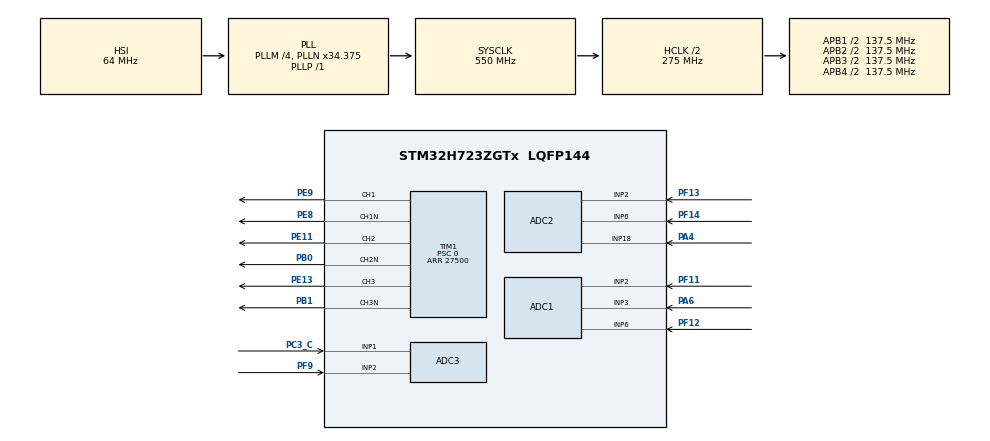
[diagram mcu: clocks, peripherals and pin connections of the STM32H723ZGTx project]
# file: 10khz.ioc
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ADC1.Channel-0\#ChannelRegularConversion=ADC_CHANNEL_2
ADC1.Channel-1\#ChannelRegularConversion=ADC_CHANNEL_3
ADC1.Channel-2\#ChannelRegularConversion=ADC_CHANNEL_6
ADC1.ConversionDataManagement=ADC_CONVERSIONDATA_DMA_CIRCULAR
ADC1.EOCSelection=ADC_EOC_SEQ_CONV
ADC1.ExternalTrigConv=ADC_EXTERNALTRIG_T1_TRGO
ADC1.NbrOfConversion=3
ADC1.NbrOfConversionFlag=1
ADC1.OffsetNumber-0\#ChannelRegularConversion=ADC_OFFSET_NONE
ADC1.OffsetNumber-1\#ChannelRegularConversion=ADC_OFFSET_NONE
ADC1.OffsetNumber-2\#ChannelRegularConversion=ADC_OFFSET_NONE
ADC1.OffsetSignedSaturation-0\#ChannelRegularConversion=DISABLE
ADC1.OffsetSignedSaturation-1\#ChannelRegularConversion=DISABLE
ADC1.OffsetSignedSaturation-2\#ChannelRegularConversion=DISABLE
ADC1.Rank-0\#ChannelRegularConversion=1
ADC1.Rank-1\#ChannelRegularConversion=2
ADC1.Rank-2\#ChannelRegularConversion=3
ADC1.SamplingTime-0\#ChannelRegularConversion=ADC_SAMPLETIME_1CYCLE_5
ADC1.SamplingTime-1\#ChannelRegularConversion=ADC_SAMPLETIME_1CYCLE_5
ADC1.SamplingTime-2\#ChannelRegularConversion=ADC_SAMPLETIME_1CYCLE_5
ADC1.master=1
ADC2.Channel-0\#ChannelRegularConversion=ADC_CHANNEL_2
ADC2.Channel-1\#ChannelRegularConversion=ADC_CHANNEL_6
ADC2.Channel-2\#ChannelRegularConversion=ADC_CHANNEL_18
ADC2.ConversionDataManagement=ADC_CONVERSIONDATA_DMA_CIRCULAR
ADC2.EOCSelection=ADC_EOC_SEQ_CONV
ADC2.ExternalTrigConv=ADC_EXTERNALTRIG_T1_TRGO
ADC2.NbrOfConversion=3
ADC2.NbrOfConversionFlag=1
ADC2.OffsetNumber-0\#ChannelRegularConversion=ADC_OFFSET_NONE
ADC2.OffsetNumber-1\#ChannelRegularConversion=ADC_OFFSET_NONE
ADC2.OffsetNumber-2\#ChannelRegularConversion=ADC_OFFSET_NONE
ADC2.OffsetSignedSaturation-0\#ChannelRegularConversion=DISABLE
ADC2.OffsetSignedSaturation-1\#ChannelRegularConversion=DISABLE
ADC2.OffsetSignedSaturation-2\#ChannelRegularConversion=DISABLE
ADC2.Rank-0\#ChannelRegularConversion=1
ADC2.Rank-1\#ChannelRegularConversion=2
ADC2.Rank-2\#ChannelRegularConversion=3
ADC2.SamplingTime-0\#ChannelRegularConversion=ADC_SAMPLETIME_1CYCLE_5
ADC2.SamplingTime-1\#ChannelRegularConversion=ADC_SAMPLETIME_1CYCLE_5
ADC2.SamplingTime-2\#ChannelRegularConversion=ADC_SAMPLETIME_1CYCLE_5
ADC3.Channel-0\#ChannelRegularConversion=ADC_CHANNEL_1
ADC3.Channel-1\#ChannelRegularConversion=ADC_CHANNEL_2
ADC3.ConversionDataManagement=ADC_CONVERSIONDATA_DMA_CIRCULAR
ADC3.DMAContinuousRequests=ENABLE
ADC3.EOCSelection=ADC_EOC_SEQ_CONV
ADC3.ExternalTrigConv=ADC_EXTERNALTRIG_T1_TRGO
ADC3.NbrOfConversion=2
ADC3.NbrOfConversionFlag=1
ADC3.OffsetNumber-0\#ChannelRegularConversion=ADC_OFFSET_NONE
ADC3.OffsetNumber-1\#ChannelRegularConversion=ADC_OFFSET_NONE
ADC3.OffsetSign-0\#ChannelRegularConversion=ADC3_OFFSET_SIGN_NEGATIVE
ADC3.OffsetSign-1\#ChannelRegularConversion=ADC3_OFFSET_SIGN_NEGATIVE
ADC3.Rank-0\#ChannelRegularConversion=1
ADC3.Rank-1\#ChannelRegularConversion=2
ADC3.SamplingTime-0\#ChannelRegularConversion=ADC3_SAMPLETIME_2CYCLES_5
ADC3.SamplingTime-1\#ChannelRegularConversion=ADC3_SAMPLETIME_2CYCLES_5
CORTEX_M7.CPU_DCache=Disabled
CORTEX_M7.CPU_ICache=Disabled
CORTEX_M7.default_mode_Activation=1
Dma.ADC1.0.Direction=DMA_PERIPH_TO_MEMORY
Dma.ADC1.0.EventEnable=DISABLE
Dma.ADC1.0.FIFOMode=DMA_FIFOMODE_DISABLE
Dma.ADC1.0.Instance=DMA1_Stream0
Dma.ADC1.0.MemDataAlignment=DMA_MDATAALIGN_HALFWORD
Dma.ADC1.0.MemInc=DMA_MINC_ENABLE
Dma.ADC1.0.Mode=DMA_CIRCULAR
Dma.ADC1.0.PeriphDataAlignment=DMA_PDATAALIGN_HALFWORD
Dma.ADC1.0.PeriphInc=DMA_PINC_DISABLE
Dma.ADC1.0.Polarity=HAL_DMAMUX_REQ_GEN_RISING
Dma.ADC1.0.Priority=DMA_PRIORITY_LOW
Dma.ADC1.0.RequestNumber=1
Dma.ADC1.0.SignalID=NONE
Dma.ADC1.0.SyncEnable=DISABLE
Dma.ADC1.0.SyncPolarity=HAL_DMAMUX_SYNC_NO_EVENT
Dma.ADC1.0.SyncRequestNumber=1
Dma.ADC1.0.SyncSignalID=NONE
Dma.ADC2.1.Direction=DMA_PERIPH_TO_MEMORY
Dma.ADC2.1.EventEnable=DISABLE
Dma.ADC2.1.FIFOMode=DMA_FIFOMODE_DISABLE
Dma.ADC2.1.Instance=DMA1_Stream1
Dma.ADC2.1.MemDataAlignment=DMA_MDATAALIGN_HALFWORD
Dma.ADC2.1.MemInc=DMA_MINC_ENABLE
Dma.ADC2.1.Mode=DMA_CIRCULAR
Dma.ADC2.1.PeriphDataAlignment=DMA_PDATAALIGN_HALFWORD
Dma.ADC2.1.PeriphInc=DMA_PINC_DISABLE
Dma.ADC2.1.Polarity=HAL_DMAMUX_REQ_GEN_RISING
Dma.ADC2.1.Priority=DMA_PRIORITY_LOW
Dma.ADC2.1.RequestNumber=1
Dma.ADC2.1.SignalID=NONE
Dma.ADC2.1.SyncEnable=DISABLE
Dma.ADC2.1.SyncPolarity=HAL_DMAMUX_SYNC_NO_EVENT
Dma.ADC2.1.SyncRequestNumber=1
Dma.ADC2.1.SyncSignalID=NONE
Dma.ADC3.2.Direction=DMA_PERIPH_TO_MEMORY
Dma.ADC3.2.EventEnable=DISABLE
Dma.ADC3.2.FIFOMode=DMA_FIFOMODE_DISABLE
Dma.ADC3.2.Instance=DMA1_Stream2
Dma.ADC3.2.MemDataAlignment=DMA_MDATAALIGN_HALFWORD
Dma.ADC3.2.MemInc=DMA_MINC_ENABLE
Dma.ADC3.2.Mode=DMA_CIRCULAR
Dma.ADC3.2.PeriphDataAlignment=DMA_PDATAALIGN_HALFWORD
Dma.ADC3.2.PeriphInc=DMA_PINC_DISABLE
Dma.ADC3.2.Polarity=HAL_DMAMUX_REQ_GEN_RISING
Dma.ADC3.2.Priority=DMA_PRIORITY_LOW
Dma.ADC3.2.RequestNumber=1
Dma.ADC3.2.SignalID=NONE
Dma.ADC3.2.SyncEnable=DISABLE
Dma.ADC3.2.SyncPolarity=HAL_DMAMUX_SYNC_NO_EVENT
Dma.ADC3.2.SyncRequestNumber=1
Dma.ADC3.2.SyncSignalID=NONE
Dma.Request0=ADC1
Dma.Request1=ADC2
Dma.Request2=ADC3
Mcu.Family=STM32H7
Mcu.Name=STM32H723ZGTx
Mcu.Package=LQFP144
NVIC.ADC3_IRQn=true\:0\:0\:false\:false\:true\:true\:true\:true
NVIC.ADC_IRQn=true\:0\:0\:false\:false\:true\:true\:true\:true
NVIC.DMA1_Stream0_IRQn=true\:0\:0\:false\:false\:true\:false\:true\:true
NVIC.DMA1_Stream1_IRQn=true\:0\:0\:false\:false\:true\:false\:true\:true
NVIC.DMA1_Stream2_IRQn=true\:0\:0\:false\:false\:true\:false\:true\:true
NVIC.PriorityGroup=NVIC_PRIORITYGROUP_4
NVIC.TIM1_UP_IRQn=true\:0\:0\:false\:false\:true\:true\:true\:true
NVIC.TIM2_IRQn=true\:0\:0\:false\:false\:true\:true\:true\:true
PA4.Signal=ADCx_INP18
PA6.Signal=ADCx_INP3
PB0.Mode=PWM Generation2 CH2 CH2N
PB0.Signal=TIM1_CH2N
PB1.Mode=PWM Generation3 CH3 CH3N
PB1.Signal=TIM1_CH3N
PC3_C.Mode=IN1-Single-Ended
PC3_C.Signal=ADC3_INP1
PE11.Signal=S_TIM1_CH2
PE13.Signal=S_TIM1_CH3
PE8.Mode=PWM Generation1 CH1 CH1N
PE8.Signal=TIM1_CH1N
PE9.Signal=S_TIM1_CH1
PF11.Mode=IN2-Single-Ended
PF11.Signal=ADC1_INP2
PF12.Mode=IN6-Single-Ended
PF12.Signal=ADC1_INP6
PF13.Mode=IN2-Single-Ended
PF13.Signal=ADC2_INP2
PF14.Mode=IN6-Single-Ended
PF14.Signal=ADC2_INP6
PF9.Mode=IN2-Single-Ended
PF9.Signal=ADC3_INP2
PH0-OSC_IN.Mode=HSE-External-Oscillator
PH0-OSC_IN.Signal=RCC_OSC_IN
PH1-OSC_OUT.Mode=HSE-External-Oscillator
PH1-OSC_OUT.Signal=RCC_OSC_OUT
ProjectManager.HeapSize=0x200
ProjectManager.StackSize=0x400
ProjectManager.TargetToolchain=STM32CubeIDE
RCC.ADCFreq_Value=96000000
RCC.APB1Freq_Value=137500000
RCC.APB2Freq_Value=137500000
RCC.APB3Freq_Value=137500000
RCC.APB4Freq_Value=137500000
RCC.CortexFreq_Value=550000000
RCC.D1PPRE=RCC_APB3_DIV2
RCC.D2PPRE1=RCC_APB1_DIV2
RCC.D2PPRE2=RCC_APB2_DIV2
RCC.D3PPRE=RCC_APB4_DIV2
RCC.DIVM1=4
RCC.DIVM2=4
RCC.DIVN1=34
RCC.DIVN2=12
RCC.DIVP1=1
RCC.DIVQ1=4
RCC.HCLKFreq_Value=275000000
RCC.HPRE=RCC_HCLK_DIV2
RCC.HSE_VALUE=8000000
RCC.PLL2FRACN=0
RCC.PLLFRACN=3072
RCC.SYSCLKFreq_VALUE=550000000
RCC.SYSCLKSource=RCC_SYSCLKSOURCE_PLLCLK
RCC.USBCLockSelection=RCC_USBCLKSOURCE_HSI48
RCC.USBFreq_Value=48000000
SH.ADCx_INP18.0=ADC2_INP18,IN18-Single-Ended
SH.ADCx_INP3.0=ADC1_INP3,IN3-Single-Ended
SH.S_TIM1_CH1.0=TIM1_CH1,PWM Generation1 CH1 CH1N
SH.S_TIM1_CH2.0=TIM1_CH2,PWM Generation2 CH2 CH2N
SH.S_TIM1_CH3.0=TIM1_CH3,PWM Generation3 CH3 CH3N
TIM1.Channel-PWM\ Generation1\ CH1\ CH1N=TIM_CHANNEL_1
TIM1.Channel-PWM\ Generation2\ CH2\ CH2N=TIM_CHANNEL_2
TIM1.Channel-PWM\ Generation3\ CH3\ CH3N=TIM_CHANNEL_3
TIM1.DeadTime=255
TIM1.Period=27500
TIM1.Prescaler=0
TIM1.TIM_MasterOutputTrigger=TIM_TRGO_UPDATE
TIM2.Period=13750
VP_MEMORYMAP_VS_MEMORYMAP.Mode=CurAppReg
VP_TIM1_VS_ClockSourceINT.Mode=Internal
VP_TIM2_VS_ClockSourceINT.Mode=Internal
board=NUCLEO-H723ZG

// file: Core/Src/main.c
/* USER CODE BEGIN Header */
/**
  ******************************************************************************
  * @file           : main.c
  * @brief          : Main program body
  ******************************************************************************
  * @attention
  *
  * Copyright (c) 2025 STMicroelectronics.
  * All rights reserved.
  *
  * This software is licensed under terms that can be found in the LICENSE file
  * in the root directory of this software component.
  * If no LICENSE file comes with this software, it is provided AS-IS.
  *
  ******************************************************************************
  */
/* USER CODE END Header */
#include "main.h"

/* USER CODE BEGIN Includes */
#include "butterworth_filter.h"
#include "TPGCI_STM32_4.h"
/* USER CODE END Includes */

ADC_HandleTypeDef hadc1;
ADC_HandleTypeDef hadc2;
ADC_HandleTypeDef hadc3;
DMA_HandleTypeDef hdma_adc1;
DMA_HandleTypeDef hdma_adc2;
DMA_HandleTypeDef hdma_adc3;

TIM_HandleTypeDef htim1;
TIM_HandleTypeDef htim2;

/* USER CODE BEGIN PV */

//********************************** Main inputs ******************************//
float VDC_i=400;
float CCR_max_i = 1375;
float Id_ref_i = 3;
float Iq_ref_i = 0;
float r_ph_shift=0;
float y_ph_shift=0;
float b_ph_shift=0;
float phasedelay_i = 0;
// ******************** Analog to Digital conversion variables **************************//
float VOLTAGE_R_PHASE 	= 0.0;		//ADC1 Channel 2 pin PF11
float VOLTAGE_Y_PHASE 	= 0.0;		//ADC1 Channel 3 pin PA6
float VOLTAGE_B_PHASE 	= 0.0;		//ADC1 Channel 6 pin PF12
float VOLTAGE_R_OFFSET  = 2.00;
float VOLTAGE_Y_OFFSET  = 2.00;
float VOLTAGE_B_OFFSET  = 2.00;
float VOLTAGE_R_GAIN 	= 376.7;
float VOLTAGE_Y_GAIN 	= 373.381;
float VOLTAGE_B_GAIN 	= 400.136;
float CURRENT_R_PHASE 	= 0.0;		//ADC1 Channel 2 pin PF11
float CURRENT_Y_PHASE 	= 0.0;		//ADC1 Channel 3 pin PA6
float CURRENT_B_PHASE 	= 0.0;		//ADC1 Channel 6 pin PF12
float CURRENT_R_OFFSET  = 2.0;
float CURRENT_Y_OFFSET  = 2.0;
float CURRENT_B_OFFSET  = 2.0;
float CURRENT_R_GAIN	= 9;
float CURRENT_Y_GAIN 	= 9;
float CURRENT_B_GAIN 	= 9;
float DC_Voltage = 0.0f;
float DC_Current = 0.0f;
float DC_Voltage_Gain = 0.0f;
float DC_Current_Gain = 0.0f;
const float VREF 		= 3.3; 			   // Reference voltage (assume 3.3V)
const uint32_t ADC_16bRESOLUTION = 65535;  // 16-bit resolution (0-65535)
const uint32_t ADC_12bRESOLUTION = 4096;   // 16-bit resolution (0-4096)
uint16_t VoltageadcBuffer[3];     //voltage buffer for DMA
uint16_t CurrentadcBuffer[3];     //current buffer for DMA
uint16_t DCSenseBuffer[2];
// ******************** Checking variables **************************//
float Tim1_check=0.0f;
float Tim2_check=0.0f;
float Tim8_check=0.0f;
float ADC1_Check=0.0f;
float ADC2_Check=0.0f;
float ADC3_Check=0.0f;
// ***************Buffers to hold previous input/output values *****************//
float VoltageR_Input[3] = {0.0f, 0.0f, 0.0f};
float VoltageR_Output[3] = {0.0f, 0.0f, 0.0f};
float VoltageY_Input[3] = {0.0f, 0.0f, 0.0f};
float VoltageY_Output[3] = {0.0f, 0.0f, 0.0f};
float VoltageB_Input[3] = {0.0f, 0.0f, 0.0f};
float VoltageB_Output[3] = {0.0f, 0.0f, 0.0f};
float CurrentR_Input[3] = {0.0f, 0.0f, 0.0f};
float CurrentR_Output[3] = {0.0f, 0.0f, 0.0f};
float CurrentY_Input[3] = {0.0f, 0.0f, 0.0f};
float CurrentY_Output[3] = {0.0f, 0.0f, 0.0f};
float CurrentB_Input[3] = {0.0f, 0.0f, 0.0f};
float CurrentB_Output[3] = {0.0f, 0.0f, 0.0f};

volatile uint32_t adc_start, adc_end1,adc_end2,adc_end3, adc_time1, adc_time2, adc_time3;
/* USER CODE END PV */

void SystemClock_Config(void);
void PeriphCommonClock_Config(void);
static void MPU_Config(void);
static void MX_GPIO_Init(void);
static void MX_DMA_Init(void);
static void MX_ADC1_Init(void);
static void MX_ADC2_Init(void);
static void MX_ADC3_Init(void);
static void MX_TIM1_Init(void);
static void MX_TIM2_Init(void);

int main(void)
{

  /* MPU Configuration--------------------------------------------------------*/
  MPU_Config();

  /* MCU Configuration--------------------------------------------------------*/

  /* Reset of all peripherals, Initializes the Flash interface and the Systick. */
  HAL_Init();

  /* Configure the system clock */
  SystemClock_Config();

  /* Configure the peripherals common clocks */
  PeriphCommonClock_Config();

  /* Initialize all configured peripherals */
  MX_GPIO_Init();
  MX_DMA_Init();
  MX_ADC1_Init();
  MX_ADC2_Init();
  MX_ADC3_Init();
  MX_TIM1_Init();
  MX_TIM2_Init();
  /* USER CODE BEGIN 2 */
  HAL_TIM_Base_Start_IT(&htim1);
  HAL_TIM_Base_Start_IT(&htim2);

  // Start the ADC in DMA mode, with 3 channels
  HAL_ADC_Start_DMA(&hadc1, (uint32_t*)VoltageadcBuffer, 3);
  HAL_ADC_Start_DMA(&hadc2, (uint32_t*)CurrentadcBuffer, 3);
  HAL_ADC_Start_DMA(&hadc3, (uint32_t*)DCSenseBuffer, 2);

  TPGCI_STM32_4_initialize();
  /* USER CODE END 2 */

  /* Infinite loop */
  while (1)
  {

  }
}

void SystemClock_Config(void)
{
  RCC_OscInitTypeDef RCC_OscInitStruct = {0};
  RCC_ClkInitTypeDef RCC_ClkInitStruct = {0};

  /** Supply configuration update enable
  */
  HAL_PWREx_ConfigSupply(PWR_LDO_SUPPLY);

  /** Configure the main internal regulator output voltage
  */
  __HAL_PWR_VOLTAGESCALING_CONFIG(PWR_REGULATOR_VOLTAGE_SCALE0);

  while(!__HAL_PWR_GET_FLAG(PWR_FLAG_VOSRDY)) {}

  /** Initializes the RCC Oscillators according to the specified parameters
  * in the RCC_OscInitTypeDef structure.
  */
  RCC_OscInitStruct.OscillatorType = RCC_OSCILLATORTYPE_HSI;
  RCC_OscInitStruct.HSIState = RCC_HSI_DIV1;
  RCC_OscInitStruct.HSICalibrationValue = 64;
  RCC_OscInitStruct.PLL.PLLState = RCC_PLL_ON;
  RCC_OscInitStruct.PLL.PLLSource = RCC_PLLSOURCE_HSI;
  RCC_OscInitStruct.PLL.PLLM = 4;
  RCC_OscInitStruct.PLL.PLLN = 34;
  RCC_OscInitStruct.PLL.PLLP = 1;
  RCC_OscInitStruct.PLL.PLLQ = 4;
  RCC_OscInitStruct.PLL.PLLR = 2;
  RCC_OscInitStruct.PLL.PLLRGE = RCC_PLL1VCIRANGE_3;
  RCC_OscInitStruct.PLL.PLLVCOSEL = RCC_PLL1VCOWIDE;
  RCC_OscInitStruct.PLL.PLLFRACN = 3072;
  if (HAL_RCC_OscConfig(&RCC_OscInitStruct) != HAL_OK)
  {
    Error_Handler();
  }

  /** Initializes the CPU, AHB and APB buses clocks
  */
  RCC_ClkInitStruct.ClockType = RCC_CLOCKTYPE_HCLK|RCC_CLOCKTYPE_SYSCLK
                              |RCC_CLOCKTYPE_PCLK1|RCC_CLOCKTYPE_PCLK2
                              |RCC_CLOCKTYPE_D3PCLK1|RCC_CLOCKTYPE_D1PCLK1;
  RCC_ClkInitStruct.SYSCLKSource = RCC_SYSCLKSOURCE_PLLCLK;
  RCC_ClkInitStruct.SYSCLKDivider = RCC_SYSCLK_DIV1;
  RCC_ClkInitStruct.AHBCLKDivider = RCC_HCLK_DIV2;
  RCC_ClkInitStruct.APB3CLKDivider = RCC_APB3_DIV2;
  RCC_ClkInitStruct.APB1CLKDivider = RCC_APB1_DIV2;
  RCC_ClkInitStruct.APB2CLKDivider = RCC_APB2_DIV2;
  RCC_ClkInitStruct.APB4CLKDivider = RCC_APB4_DIV2;

  if (HAL_RCC_ClockConfig(&RCC_ClkInitStruct, FLASH_LATENCY_3) != HAL_OK)
  {
    Error_Handler();
  }
}

void PeriphCommonClock_Config(void)
{
  RCC_PeriphCLKInitTypeDef PeriphClkInitStruct = {0};

  /** Initializes the peripherals clock
  */
  PeriphClkInitStruct.PeriphClockSelection = RCC_PERIPHCLK_ADC;
  PeriphClkInitStruct.PLL2.PLL2M = 4;
  PeriphClkInitStruct.PLL2.PLL2N = 12;
  PeriphClkInitStruct.PLL2.PLL2P = 2;
  PeriphClkInitStruct.PLL2.PLL2Q = 2;
  PeriphClkInitStruct.PLL2.PLL2R = 2;
  PeriphClkInitStruct.PLL2.PLL2RGE = RCC_PLL2VCIRANGE_3;
  PeriphClkInitStruct.PLL2.PLL2VCOSEL = RCC_PLL2VCOWIDE;
  PeriphClkInitStruct.PLL2.PLL2FRACN = 0;
  PeriphClkInitStruct.AdcClockSelection = RCC_ADCCLKSOURCE_PLL2;
  if (HAL_RCCEx_PeriphCLKConfig(&PeriphClkInitStruct) != HAL_OK)
  {
    Error_Handler();
  }
}

static void MX_ADC1_Init(void)
{

  ADC_MultiModeTypeDef multimode = {0};
  ADC_ChannelConfTypeDef sConfig = {0};

  /** Common config
  */
  hadc1.Instance = ADC1;
  hadc1.Init.ClockPrescaler = ADC_CLOCK_ASYNC_DIV1;
  hadc1.Init.Resolution = ADC_RESOLUTION_16B;
  hadc1.Init.ScanConvMode = ADC_SCAN_ENABLE;
  hadc1.Init.EOCSelection = ADC_EOC_SEQ_CONV;
  hadc1.Init.LowPowerAutoWait = DISABLE;
  hadc1.Init.ContinuousConvMode = DISABLE;
  hadc1.Init.NbrOfConversion = 3;
  hadc1.Init.DiscontinuousConvMode = DISABLE;
  hadc1.Init.ExternalTrigConv = ADC_EXTERNALTRIG_T1_TRGO;
  hadc1.Init.ExternalTrigConvEdge = ADC_EXTERNALTRIGCONVEDGE_RISING;
  hadc1.Init.ConversionDataManagement = ADC_CONVERSIONDATA_DMA_CIRCULAR;
  hadc1.Init.Overrun = ADC_OVR_DATA_PRESERVED;
  hadc1.Init.LeftBitShift = ADC_LEFTBITSHIFT_NONE;
  hadc1.Init.OversamplingMode = DISABLE;
  hadc1.Init.Oversampling.Ratio = 1;
  if (HAL_ADC_Init(&hadc1) != HAL_OK)
  {
    Error_Handler();
  }

  /** Configure the ADC multi-mode
  */
  multimode.Mode = ADC_MODE_INDEPENDENT;
  if (HAL_ADCEx_MultiModeConfigChannel(&hadc1, &multimode) != HAL_OK)
  {
    Error_Handler();
  }

  /** Configure Regular Channel
  */
  sConfig.Channel = ADC_CHANNEL_2;
  sConfig.Rank = ADC_REGULAR_RANK_1;
  sConfig.SamplingTime = ADC_SAMPLETIME_1CYCLE_5;
  sConfig.SingleDiff = ADC_SINGLE_ENDED;
  sConfig.OffsetNumber = ADC_OFFSET_NONE;
  sConfig.Offset = 0;
  sConfig.OffsetSignedSaturation = DISABLE;
  if (HAL_ADC_ConfigChannel(&hadc1, &sConfig) != HAL_OK)
  {
    Error_Handler();
  }

  /** Configure Regular Channel
  */
  sConfig.Channel = ADC_CHANNEL_3;
  sConfig.Rank = ADC_REGULAR_RANK_2;
  if (HAL_ADC_ConfigChannel(&hadc1, &sConfig) != HAL_OK)
  {
    Error_Handler();
  }

  /** Configure Regular Channel
  */
  sConfig.Channel = ADC_CHANNEL_6;
  sConfig.Rank = ADC_REGULAR_RANK_3;
  if (HAL_ADC_ConfigChannel(&hadc1, &sConfig) != HAL_OK)
  {
    Error_Handler();
  }

}

static void MX_ADC2_Init(void)
{

  ADC_ChannelConfTypeDef sConfig = {0};

  /** Common config
  */
  hadc2.Instance = ADC2;
  hadc2.Init.ClockPrescaler = ADC_CLOCK_ASYNC_DIV1;
  hadc2.Init.Resolution = ADC_RESOLUTION_16B;
  hadc2.Init.ScanConvMode = ADC_SCAN_ENABLE;
  hadc2.Init.EOCSelection = ADC_EOC_SEQ_CONV;
  hadc2.Init.LowPowerAutoWait = DISABLE;
  hadc2.Init.ContinuousConvMode = DISABLE;
  hadc2.Init.NbrOfConversion = 3;
  hadc2.Init.DiscontinuousConvMode = DISABLE;
  hadc2.Init.ExternalTrigConv = ADC_EXTERNALTRIG_T1_TRGO;
  hadc2.Init.ExternalTrigConvEdge = ADC_EXTERNALTRIGCONVEDGE_RISING;
  hadc2.Init.ConversionDataManagement = ADC_CONVERSIONDATA_DMA_CIRCULAR;
  hadc2.Init.Overrun = ADC_OVR_DATA_PRESERVED;
  hadc2.Init.LeftBitShift = ADC_LEFTBITSHIFT_NONE;
  hadc2.Init.OversamplingMode = DISABLE;
  hadc2.Init.Oversampling.Ratio = 1;
  if (HAL_ADC_Init(&hadc2) != HAL_OK)
  {
    Error_Handler();
  }

  /** Configure Regular Channel
  */
  sConfig.Channel = ADC_CHANNEL_2;
  sConfig.Rank = ADC_REGULAR_RANK_1;
  sConfig.SamplingTime = ADC_SAMPLETIME_1CYCLE_5;
  sConfig.SingleDiff = ADC_SINGLE_ENDED;
  sConfig.OffsetNumber = ADC_OFFSET_NONE;
  sConfig.Offset = 0;
  sConfig.OffsetSignedSaturation = DISABLE;
  if (HAL_ADC_ConfigChannel(&hadc2, &sConfig) != HAL_OK)
  {
    Error_Handler();
  }

  /** Configure Regular Channel
  */
  sConfig.Channel = ADC_CHANNEL_6;
  sConfig.Rank = ADC_REGULAR_RANK_2;
  if (HAL_ADC_ConfigChannel(&hadc2, &sConfig) != HAL_OK)
  {
    Error_Handler();
  }

  /** Configure Regular Channel
  */
  sConfig.Channel = ADC_CHANNEL_18;
  sConfig.Rank = ADC_REGULAR_RANK_3;
  if (HAL_ADC_ConfigChannel(&hadc2, &sConfig) != HAL_OK)
  {
    Error_Handler();
  }

}

static void MX_ADC3_Init(void)
{

  ADC_ChannelConfTypeDef sConfig = {0};

  /** Common config
  */
  hadc3.Instance = ADC3;
  hadc3.Init.ClockPrescaler = ADC_CLOCK_ASYNC_DIV1;
  hadc3.Init.Resolution = ADC_RESOLUTION_12B;
  hadc3.Init.DataAlign = ADC3_DATAALIGN_RIGHT;
  hadc3.Init.ScanConvMode = ADC_SCAN_ENABLE;
  hadc3.Init.EOCSelection = ADC_EOC_SEQ_CONV;
  hadc3.Init.LowPowerAutoWait = DISABLE;
  hadc3.Init.ContinuousConvMode = DISABLE;
  hadc3.Init.NbrOfConversion = 2;
  hadc3.Init.DiscontinuousConvMode = DISABLE;
  hadc3.Init.ExternalTrigConv = ADC_EXTERNALTRIG_T1_TRGO;
  hadc3.Init.ExternalTrigConvEdge = ADC_EXTERNALTRIGCONVEDGE_RISING;
  hadc3.Init.DMAContinuousRequests = ENABLE;
  hadc3.Init.SamplingMode = ADC_SAMPLING_MODE_NORMAL;
  hadc3.Init.ConversionDataManagement = ADC_CONVERSIONDATA_DMA_CIRCULAR;
  hadc3.Init.Overrun = ADC_OVR_DATA_PRESERVED;
  hadc3.Init.LeftBitShift = ADC_LEFTBITSHIFT_NONE;
  hadc3.Init.OversamplingMode = DISABLE;
  hadc3.Init.Oversampling.Ratio = ADC3_OVERSAMPLING_RATIO_2;
  if (HAL_ADC_Init(&hadc3) != HAL_OK)
  {
    Error_Handler();
  }

  /** Configure Regular Channel
  */
  sConfig.Channel = ADC_CHANNEL_1;
  sConfig.Rank = ADC_REGULAR_RANK_1;
  sConfig.SamplingTime = ADC3_SAMPLETIME_2CYCLES_5;
  sConfig.SingleDiff = ADC_SINGLE_ENDED;
  sConfig.OffsetNumber = ADC_OFFSET_NONE;
  sConfig.Offset = 0;
  sConfig.OffsetSign = ADC3_OFFSET_SIGN_NEGATIVE;
  if (HAL_ADC_ConfigChannel(&hadc3, &sConfig) != HAL_OK)
  {
    Error_Handler();
  }

  /** Configure Regular Channel
  */
  sConfig.Channel = ADC_CHANNEL_2;
  sConfig.Rank = ADC_REGULAR_RANK_2;
  if (HAL_ADC_ConfigChannel(&hadc3, &sConfig) != HAL_OK)
  {
    Error_Handler();
  }

}

static void MX_TIM1_Init(void)
{

  TIM_ClockConfigTypeDef sClockSourceConfig = {0};
  TIM_MasterConfigTypeDef sMasterConfig = {0};
  TIM_OC_InitTypeDef sConfigOC = {0};
  TIM_BreakDeadTimeConfigTypeDef sBreakDeadTimeConfig = {0};

  htim1.Instance = TIM1;
  htim1.Init.Prescaler = 0;
  htim1.Init.CounterMode = TIM_COUNTERMODE_UP;
  htim1.Init.Period = 27500;
  htim1.Init.ClockDivision = TIM_CLOCKDIVISION_DIV1;
  htim1.Init.RepetitionCounter = 0;
  htim1.Init.AutoReloadPreload = TIM_AUTORELOAD_PRELOAD_DISABLE;
  if (HAL_TIM_Base_Init(&htim1) != HAL_OK)
  {
    Error_Handler();
  }
  sClockSourceConfig.ClockSource = TIM_CLOCKSOURCE_INTERNAL;
  if (HAL_TIM_ConfigClockSource(&htim1, &sClockSourceConfig) != HAL_OK)
  {
    Error_Handler();
  }
  if (HAL_TIM_PWM_Init(&htim1) != HAL_OK)
  {
    Error_Handler();
  }
  sMasterConfig.MasterOutputTrigger = TIM_TRGO_UPDATE;
  sMasterConfig.MasterOutputTrigger2 = TIM_TRGO2_RESET;
  sMasterConfig.MasterSlaveMode = TIM_MASTERSLAVEMODE_DISABLE;
  if (HAL_TIMEx_MasterConfigSynchronization(&htim1, &sMasterConfig) != HAL_OK)
  {
    Error_Handler();
  }
  sConfigOC.OCMode = TIM_OCMODE_PWM1;
  sConfigOC.Pulse = 0;
  sConfigOC.OCPolarity = TIM_OCPOLARITY_HIGH;
  sConfigOC.OCNPolarity = TIM_OCNPOLARITY_HIGH;
  sConfigOC.OCFastMode = TIM_OCFAST_DISABLE;
  sConfigOC.OCIdleState = TIM_OCIDLESTATE_RESET;
  sConfigOC.OCNIdleState = TIM_OCNIDLESTATE_RESET;
  if (HAL_TIM_PWM_ConfigChannel(&htim1, &sConfigOC, TIM_CHANNEL_1) != HAL_OK)
  {
    Error_Handler();
  }
  if (HAL_TIM_PWM_ConfigChannel(&htim1, &sConfigOC, TIM_CHANNEL_2) != HAL_OK)
  {
    Error_Handler();
  }
  if (HAL_TIM_PWM_ConfigChannel(&htim1, &sConfigOC, TIM_CHANNEL_3) != HAL_OK)
  {
    Error_Handler();
  }
  sBreakDeadTimeConfig.OffStateRunMode = TIM_OSSR_DISABLE;
  sBreakDeadTimeConfig.OffStateIDLEMode = TIM_OSSI_DISABLE;
  sBreakDeadTimeConfig.LockLevel = TIM_LOCKLEVEL_OFF;
  sBreakDeadTimeConfig.DeadTime = 255;
  sBreakDeadTimeConfig.BreakState = TIM_BREAK_DISABLE;
  sBreakDeadTimeConfig.BreakPolarity = TIM_BREAKPOLARITY_HIGH;
  sBreakDeadTimeConfig.BreakFilter = 0;
  sBreakDeadTimeConfig.Break2State = TIM_BREAK2_DISABLE;
  sBreakDeadTimeConfig.Break2Polarity = TIM_BREAK2POLARITY_HIGH;
  sBreakDeadTimeConfig.Break2Filter = 0;
  sBreakDeadTimeConfig.AutomaticOutput = TIM_AUTOMATICOUTPUT_DISABLE;
  if (HAL_TIMEx_ConfigBreakDeadTime(&htim1, &sBreakDeadTimeConfig) != HAL_OK)
  {
    Error_Handler();
  }
  HAL_TIM_MspPostInit(&htim1);

}

static void MX_TIM2_Init(void)
{

  TIM_ClockConfigTypeDef sClockSourceConfig = {0};
  TIM_MasterConfigTypeDef sMasterConfig = {0};

  htim2.Instance = TIM2;
  htim2.Init.Prescaler = 0;
  htim2.Init.CounterMode = TIM_COUNTERMODE_UP;
  htim2.Init.Period = 13750;
  htim2.Init.ClockDivision = TIM_CLOCKDIVISION_DIV1;
  htim2.Init.AutoReloadPreload = TIM_AUTORELOAD_PRELOAD_DISABLE;
  if (HAL_TIM_Base_Init(&htim2) != HAL_OK)
  {
    Error_Handler();
  }
  sClockSourceConfig.ClockSource = TIM_CLOCKSOURCE_INTERNAL;
  if (HAL_TIM_ConfigClockSource(&htim2, &sClockSourceConfig) != HAL_OK)
  {
    Error_Handler();
  }
  sMasterConfig.MasterOutputTrigger = TIM_TRGO_RESET;
  sMasterConfig.MasterSlaveMode = TIM_MASTERSLAVEMODE_DISABLE;
  if (HAL_TIMEx_MasterConfigSynchronization(&htim2, &sMasterConfig) != HAL_OK)
  {
    Error_Handler();
  }

}

static void MX_DMA_Init(void)
{

  /* DMA controller clock enable */
  __HAL_RCC_DMA1_CLK_ENABLE();

  /* DMA interrupt init */
  /* DMA1_Stream0_IRQn interrupt configuration */
  HAL_NVIC_SetPriority(DMA1_Stream0_IRQn, 0, 0);
  HAL_NVIC_EnableIRQ(DMA1_Stream0_IRQn);
  /* DMA1_Stream1_IRQn interrupt configuration */
  HAL_NVIC_SetPriority(DMA1_Stream1_IRQn, 0, 0);
  HAL_NVIC_EnableIRQ(DMA1_Stream1_IRQn);
  /* DMA1_Stream2_IRQn interrupt configuration */
  HAL_NVIC_SetPriority(DMA1_Stream2_IRQn, 0, 0);
  HAL_NVIC_EnableIRQ(DMA1_Stream2_IRQn);

}

static void MX_GPIO_Init(void)
{

  /* GPIO Ports Clock Enable */
  __HAL_RCC_GPIOF_CLK_ENABLE();
  __HAL_RCC_GPIOH_CLK_ENABLE();
  __HAL_RCC_GPIOC_CLK_ENABLE();
  __HAL_RCC_GPIOA_CLK_ENABLE();
  __HAL_RCC_GPIOB_CLK_ENABLE();
  __HAL_RCC_GPIOE_CLK_ENABLE();

}

/* USER CODE BEGIN 4 */
void HAL_TIM_PeriodElapsedCallback(TIM_HandleTypeDef *htim) {
    if (htim->Instance == TIM1) {
//    	 adc_start = TIM1->CNT;
//    	__HAL_TIM_SET_COMPARE(&htim1, TIM_CHANNEL_1, PWMch1);
//    	__HAL_TIM_SET_COMPARE(&htim1, TIM_CHANNEL_2, PWMch2);
//    	__HAL_TIM_SET_COMPARE(&htim1, TIM_CHANNEL_3, PWMch3);
    	Tim1_check++;
    }
    if (htim->Instance == TIM2) {
    	Tim2_check++;
    }
}
void HAL_ADC_ConvCpltCallback(ADC_HandleTypeDef* hadc)
{
    if (hadc->Instance == ADC1)
    {
        // Convert the raw ADC values to voltages (0 to 3.3V scale)
    	float rawR = ((((float)VoltageadcBuffer[0] * VREF) / ADC_16bRESOLUTION)-VOLTAGE_R_OFFSET);
    	float rawY = ((((float)VoltageadcBuffer[1] * VREF) / ADC_16bRESOLUTION)-VOLTAGE_Y_OFFSET);
    	float rawB = ((((float)VoltageadcBuffer[2] * VREF) / ADC_16bRESOLUTION)-VOLTAGE_B_OFFSET);
        // Apply the filter to each phase voltage
        VOLTAGE_R_PHASE = applyLowPassFilter(rawR, VoltageR_Input, VoltageR_Output);
        VOLTAGE_Y_PHASE = applyLowPassFilter(rawY, VoltageY_Input, VoltageY_Output);
        VOLTAGE_B_PHASE = applyLowPassFilter(rawB, VoltageB_Input, VoltageB_Output);
    	ADC1_Check++;
//    	adc_end1 = TIM1->CNT;
//    	adc_time1 = adc_end1 - adc_start;
    }
    if (hadc->Instance == ADC2)
    {

    	float rawIR = ((((float)CurrentadcBuffer[0] * VREF) / ADC_16bRESOLUTION)-CURRENT_R_OFFSET);
    	float rawIY = ((((float)CurrentadcBuffer[1] * VREF) / ADC_16bRESOLUTION)-CURRENT_Y_OFFSET);
    	float rawIB = ((((float)CurrentadcBuffer[2] * VREF) / ADC_16bRESOLUTION)-CURRENT_B_OFFSET);
    	CURRENT_R_PHASE = applyLowPassFilter(rawIR, CurrentR_Input, CurrentR_Output);
    	CURRENT_Y_PHASE = applyLowPassFilter(rawIY, CurrentY_Input, CurrentY_Output);
    	CURRENT_B_PHASE = applyLowPassFilter(rawIB, CurrentB_Input, CurrentB_Output);
    	ADC2_Check++;
//    	adc_end2 = TIM1->CNT;
//    	adc_time2 = adc_end2 - adc_start;
    }
    if (hadc->Instance == ADC3)
    {

    	DC_Voltage = (((float)DCSenseBuffer[0] * VREF) / ADC_16bRESOLUTION);
    	DC_Current = (((float)DCSenseBuffer[1] * VREF) / ADC_16bRESOLUTION);
    	TPGCI_STM32_4_step();
    	ADC3_Check++;
//    	adc_end3 = TIM1->CNT;
//    	adc_time3 = adc_end3 - adc_start;
    }

}
/* USER CODE END 4 */

 /* MPU Configuration */

void MPU_Config(void)
{
  MPU_Region_InitTypeDef MPU_InitStruct = {0};

  /* Disables the MPU */
  HAL_MPU_Disable();

  /** Initializes and configures the Region and the memory to be protected
  */
  MPU_InitStruct.Enable = MPU_REGION_ENABLE;
  MPU_InitStruct.Number = MPU_REGION_NUMBER0;
  MPU_InitStruct.BaseAddress = 0x0;
  MPU_InitStruct.Size = MPU_REGION_SIZE_4GB;
  MPU_InitStruct.SubRegionDisable = 0x87;
  MPU_InitStruct.TypeExtField = MPU_TEX_LEVEL0;
  MPU_InitStruct.AccessPermission = MPU_REGION_NO_ACCESS;
  MPU_InitStruct.DisableExec = MPU_INSTRUCTION_ACCESS_DISABLE;
  MPU_InitStruct.IsShareable = MPU_ACCESS_SHAREABLE;
  MPU_InitStruct.IsCacheable = MPU_ACCESS_NOT_CACHEABLE;
  MPU_InitStruct.IsBufferable = MPU_ACCESS_NOT_BUFFERABLE;

  HAL_MPU_ConfigRegion(&MPU_InitStruct);
  /* Enables the MPU */
  HAL_MPU_Enable(MPU_PRIVILEGED_DEFAULT);

}

void Error_Handler(void)
{
  __disable_irq();
  while (1)
  {
  }
}
